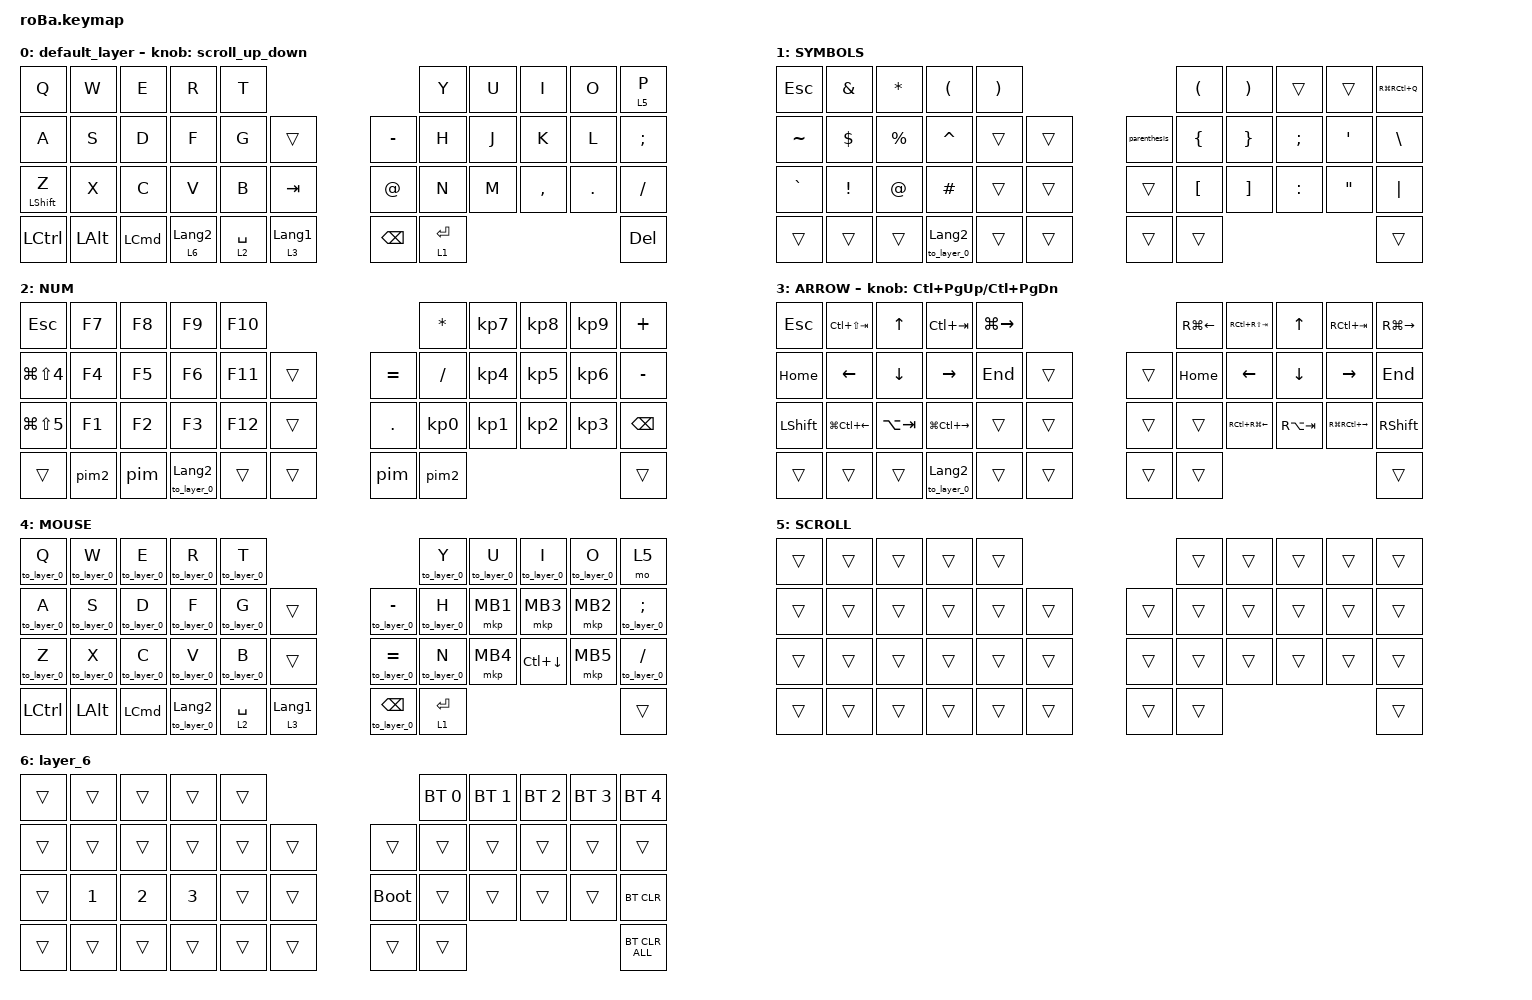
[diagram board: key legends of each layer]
#include <behaviors.dtsi>
#include <dt-bindings/zmk/bt.h>
#include <dt-bindings/zmk/keys.h>
#include <dt-bindings/zmk/pointing.h>

#define ZMK_POINTING_DEFAULT_SCRL_VAL 100
#define MOUSE 4
#define SCROLL 5
#define NUM 6

&mt {
    flavor = "balanced";
    quick-tap-ms = <0>;
};

/ {
    combos {
        compatible = "zmk,combos";

        BT0 {
            bindings = <&bt BT_SEL 0>;
            key-positions = <28 22>;
        };

        BT1 {
            bindings = <&bt BT_SEL 1>;
            key-positions = <28 23>;
        };

        BT2 {
            bindings = <&bt BT_SEL 2>;
            key-positions = <28 24>;
        };

        BT3 {
            bindings = <&bt BT_SEL 3>;
            key-positions = <28 25>;
        };
    };

    macros {
        to_layer_0: to_layer_0 {
            compatible = "zmk,behavior-macro-one-param";
            #binding-cells = <1>;
            bindings = <&to 0 &macro_param_1to1 &kp MACRO_PLACEHOLDER>;
            label = "TO_LAYER_0";
        };

        mkp_exit_AML: mkp_exit_AML {
            compatible = "zmk,behavior-macro-one-param";
            #binding-cells = <1>;
            bindings =
                <&macro_press>,
                <&macro_param_1to1 &mkp MACRO_PLACEHOLDER>,
                <&macro_pause_for_release>,
                <&macro_release>,
                <&macro_param_1to1 &mkp MACRO_PLACEHOLDER>,
                <&macro_tap>,
                <&sl 4>;

            label = "MKP_EXIT_AML";
        };

        pim: M1 {
            compatible = "zmk,behavior-macro";
            #binding-cells = <0>;
            bindings = <&kp X &kp X &kp P &kp I &kp M>;
            label = "M1";
        };

        parenthesis: parenthesis {
            compatible = "zmk,behavior-macro";
            #binding-cells = <0>;
            bindings = <&kp LANGUAGE_2 &kp LEFT_PARENTHESIS &kp RIGHT_PARENTHESIS &kp LEFT_ARROW>;
            label = "PARENTHESIS";
        };

        pim2: pim2 {
            compatible = "zmk,behavior-macro";
            #binding-cells = <0>;
            bindings = <&kp P &kp I &kp M &kp RS(K) &kp LS(H) &kp UNDERSCORE>;
            label = "PIM2";
        };
    };

    behaviors {
        scroll_up_down: behavior_sensor_rotate_mouse_wheel_up_down {
            compatible = "zmk,behavior-sensor-rotate";
            #sensor-binding-cells = <0>;
            bindings = <&msc SCRL_DOWN>, <&msc SCRL_UP>;

            // 追加: スクロールのタップ時間を設定 (20ms)

            tap-ms = <20>;
        };

        multi_tap_tab_bspc: behavior_multi_tap {
            label = "MT_TAB_BSPC";
            #binding-cells = <0>;
            bindings = <&kp TAB>, <&kp BSPC>;

            max-taps = <2>;
            max-tap-interrupt-ms = <250>;
        };

        lt_to_layer_0: lt_to_layer_0 {
            compatible = "zmk,behavior-hold-tap";
            label = "LAYER_TAP_TO_0";
            bindings = <&mo>, <&to_layer_0>;

            #binding-cells = <2>;
            tapping-term-ms = <200>;
        };
    };

    keymap {
        compatible = "zmk,keymap";

        default_layer {
            bindings = <
&kp Q             &kp W         &kp E             &kp R                        &kp T                                                        &kp Y        &kp U  &kp I      &kp O    &lt 5 P
&kp A             &kp S         &kp D             &kp F                        &kp G        &trans                           &kp MINUS      &kp H        &kp J  &kp K      &kp L    &kp SEMICOLON
&mt LEFT_SHIFT Z  &kp X         &kp C             &kp V                        &kp B        &kp TAB                          &kp AT_SIGN    &kp N        &kp M  &kp COMMA  &kp DOT  &kp SLASH
&kp LCTRL         &kp LEFT_ALT  &kp LEFT_COMMAND  &lt_to_layer_0 6 LANGUAGE_2  &lt 2 SPACE  &lt_to_layer_0 3 LANGUAGE_1      &kp BACKSPACE  &lt 1 ENTER                             &kp DELETE
            >;

            sensor-bindings = <&scroll_up_down>;
        };

        SYMBOLS {
            bindings = <
&kp ESCAPE  &kp AMPERSAND    &kp ASTERISK  &kp LEFT_PARENTHESIS    &kp RIGHT_PARENTHESIS                            &kp LEFT_PARENTHESIS  &kp RIGHT_PARENTHESIS  &trans         &trans             &kp RG(RC(Q))
&kp TILDE   &kp DOLLAR       &kp PERCENT   &kp CARET               &trans                 &trans      &parenthesis  &kp LEFT_BRACE        &kp RIGHT_BRACE        &kp SEMICOLON  &kp SQT            &kp BACKSLASH
&kp GRAVE   &kp EXCLAMATION  &kp AT_SIGN   &kp HASH                &trans                 &trans      &trans        &kp LEFT_BRACKET      &kp RIGHT_BRACKET      &kp COLON      &kp DOUBLE_QUOTES  &kp PIPE
&trans      &trans           &trans        &to_layer_0 LANGUAGE_2  &trans                 &trans      &trans        &trans                                                                         &trans
            >;
        };

        NUM {
            bindings = <
&kp ESCAPE            &kp F7  &kp F8  &kp F9                  &kp F10                          &kp ASTERISK     &kp KP_NUMBER_7  &kp KP_NUMBER_8  &kp KP_NUMBER_9  &kp PLUS
&kp LG(LS(NUMBER_4))  &kp F4  &kp F5  &kp F6                  &kp F11  &trans      &kp EQUAL   &kp SLASH        &kp KP_NUMBER_4  &kp KP_NUMBER_5  &kp KP_NUMBER_6  &kp MINUS
&kp LG(LS(NUMBER_5))  &kp F1  &kp F2  &kp F3                  &kp F12  &trans      &kp PERIOD  &kp KP_NUMBER_0  &kp KP_NUMBER_1  &kp KP_NUMBER_2  &kp KP_NUMBER_3  &kp BACKSPACE
&trans                &pim2   &pim    &to_layer_0 LANGUAGE_2  &trans   &trans      &pim        &pim2                                                               &trans
            >;
        };

        ARROW {
            bindings = <
&kp ESCAPE      &kp LC(LS(TAB))         &kp UP_ARROW    &kp LC(TAB)              &kp LG(RIGHT_ARROW)                      &kp RG(LEFT_ARROW)  &kp RC(RS(TAB))         &kp UP_ARROW    &kp RC(TAB)              &kp RG(RIGHT_ARROW)
&kp HOME        &kp LEFT_ARROW          &kp DOWN_ARROW  &kp RIGHT_ARROW          &kp END              &trans      &trans  &kp HOME            &kp LEFT_ARROW          &kp DOWN_ARROW  &kp RIGHT_ARROW          &kp END
&kp LEFT_SHIFT  &kp LG(LC(LEFT_ARROW))  &kp LA(TAB)     &kp LG(LC(RIGHT_ARROW))  &trans               &trans      &trans  &trans              &kp RC(RG(LEFT_ARROW))  &kp RA(TAB)     &kp RG(RC(RIGHT_ARROW))  &kp RSHFT
&trans          &trans                  &trans          &to_layer_0 LANGUAGE_2   &trans               &trans      &trans  &trans                                                                               &trans
            >;

            sensor-bindings = <&inc_dec_kp LC(PAGE_UP) LC(PAGE_DOWN)>;
        };

        MOUSE {
            bindings = <
&to_layer_0 Q     &to_layer_0 W  &to_layer_0 E     &to_layer_0 R           &to_layer_0 T                                               &to_layer_0 Y  &to_layer_0 U  &to_layer_0 I       &to_layer_0 O  &mo 5
&to_layer_0 A     &to_layer_0 S  &to_layer_0 D     &to_layer_0 F           &to_layer_0 G  &trans                &to_layer_0 MINUS      &to_layer_0 H  &mkp MB1       &mkp MB3            &mkp MB2       &to_layer_0 SEMICOLON
&to_layer_0 Z     &to_layer_0 X  &to_layer_0 C     &to_layer_0 V           &to_layer_0 B  &trans                &to_layer_0 EQUAL      &to_layer_0 N  &mkp MB4       &kp LC(DOWN_ARROW)  &mkp MB5       &to_layer_0 SLASH
&kp LEFT_CONTROL  &kp LEFT_ALT   &kp LEFT_COMMAND  &to_layer_0 LANGUAGE_2  &lt 2 SPACE    &lt 3 LANGUAGE_1      &to_layer_0 BACKSPACE  &lt 1 RETURN                                                     &trans
            >;
        };

        SCROLL {
            bindings = <
&trans  &trans  &trans  &trans  &trans                      &trans  &trans  &trans  &trans  &trans
&trans  &trans  &trans  &trans  &trans  &trans      &trans  &trans  &trans  &trans  &trans  &trans
&trans  &trans  &trans  &trans  &trans  &trans      &trans  &trans  &trans  &trans  &trans  &trans
&trans  &trans  &trans  &trans  &trans  &trans      &trans  &trans                          &trans
            >;
        };

        layer_6 {
            bindings = <
&trans  &trans        &trans        &trans        &trans                           &bt BT_SEL 0  &bt BT_SEL 1  &bt BT_SEL 2  &bt BT_SEL 3  &bt BT_SEL 4
&trans  &trans        &trans        &trans        &trans  &trans      &trans       &trans        &trans        &trans        &trans        &trans
&trans  &kp NUMBER_1  &kp NUMBER_2  &kp NUMBER_3  &trans  &trans      &bootloader  &trans        &trans        &trans        &trans        &bt BT_CLR
&trans  &trans        &trans        &trans        &trans  &trans      &trans       &trans                                                  &bt BT_CLR_ALL
            >;
        };
    };
};
